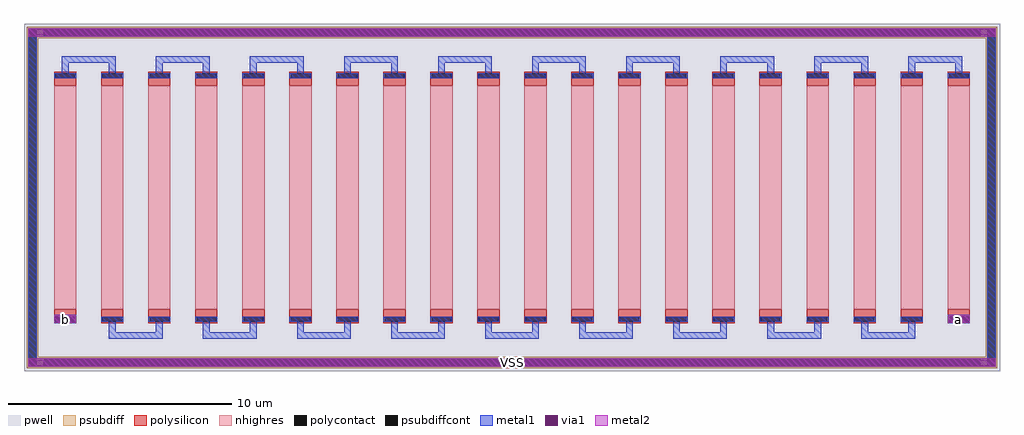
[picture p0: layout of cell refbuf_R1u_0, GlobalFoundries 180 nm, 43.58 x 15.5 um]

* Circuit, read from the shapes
.subckt refbuf_R1u_0 b a VSS
XR1 n1 b VSS ppolyf_u_1k r_width=1u r_length=10u
XR2 n1 n2 VSS ppolyf_u_1k r_width=1u r_length=10u
XR3 n3 n2 VSS ppolyf_u_1k r_width=1u r_length=10u
XR4 n3 n4 VSS ppolyf_u_1k r_width=1u r_length=10u
XR5 n5 n4 VSS ppolyf_u_1k r_width=1u r_length=10u
XR6 n5 n6 VSS ppolyf_u_1k r_width=1u r_length=10u
XR7 n7 n6 VSS ppolyf_u_1k r_width=1u r_length=10u
XR8 n7 n8 VSS ppolyf_u_1k r_width=1u r_length=10u
XR9 n9 n8 VSS ppolyf_u_1k r_width=1u r_length=10u
XR10 n9 n10 VSS ppolyf_u_1k r_width=1u r_length=10u
XR11 n11 n10 VSS ppolyf_u_1k r_width=1u r_length=10u
XR12 n11 n12 VSS ppolyf_u_1k r_width=1u r_length=10u
XR13 n13 n12 VSS ppolyf_u_1k r_width=1u r_length=10u
XR14 n13 n14 VSS ppolyf_u_1k r_width=1u r_length=10u
XR15 n15 n14 VSS ppolyf_u_1k r_width=1u r_length=10u
XR16 n15 n16 VSS ppolyf_u_1k r_width=1u r_length=10u
XR17 n17 n16 VSS ppolyf_u_1k r_width=1u r_length=10u
XR18 n17 n18 VSS ppolyf_u_1k r_width=1u r_length=10u
XR19 n19 n18 VSS ppolyf_u_1k r_width=1u r_length=10u
XR20 n19 a VSS ppolyf_u_1k r_width=1u r_length=10u
.ends

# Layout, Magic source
magic
tech gf180mcuD
magscale 1 10
<< pwell >>
rect -368 -464 8348 2636
<< psubdiff >>
rect -344 -440 8324 -336
rect -344 2508 8324 2612
rect -344 -336 -240 2508
rect 8220 -336 8324 2508
<< polysilicon >>
rect -100 2086 100 2208
rect -100 -36 100 86
rect 320 2086 520 2208
rect 320 -36 520 86
rect 740 2086 940 2208
rect 740 -36 940 86
rect 1160 2086 1360 2208
rect 1160 -36 1360 86
rect 1580 2086 1780 2208
rect 1580 -36 1780 86
rect 2000 2086 2200 2208
rect 2000 -36 2200 86
rect 2420 2086 2620 2208
rect 2420 -36 2620 86
rect 2840 2086 3040 2208
rect 2840 -36 3040 86
rect 3260 2086 3460 2208
rect 3260 -36 3460 86
rect 3680 2086 3880 2208
rect 3680 -36 3880 86
rect 4100 2086 4300 2208
rect 4100 -36 4300 86
rect 4520 2086 4720 2208
rect 4520 -36 4720 86
rect 4940 2086 5140 2208
rect 4940 -36 5140 86
rect 5360 2086 5560 2208
rect 5360 -36 5560 86
rect 5780 2086 5980 2208
rect 5780 -36 5980 86
rect 6200 2086 6400 2208
rect 6200 -36 6400 86
rect 6620 2086 6820 2208
rect 6620 -36 6820 86
rect 7040 2086 7240 2208
rect 7040 -36 7240 86
rect 7460 2086 7660 2208
rect 7460 -36 7660 86
rect 7880 2086 8080 2208
rect 7880 -36 8080 86
<< nhighres >>
rect -100 86 100 2086
rect 320 86 520 2086
rect 740 86 940 2086
rect 1160 86 1360 2086
rect 1580 86 1780 2086
rect 2000 86 2200 2086
rect 2420 86 2620 2086
rect 2840 86 3040 2086
rect 3260 86 3460 2086
rect 3680 86 3880 2086
rect 4100 86 4300 2086
rect 4520 86 4720 2086
rect 4940 86 5140 2086
rect 5360 86 5560 2086
rect 5780 86 5980 2086
rect 6200 86 6400 2086
rect 6620 86 6820 2086
rect 7040 86 7240 2086
rect 7460 86 7660 2086
rect 7880 86 8080 2086
<< psubdiffcont >>
rect -331 -416 -253 2588
rect 8233 -416 8311 2588
rect -193 2521 8173 2599
rect -193 -427 8173 -349
<< polycontact >>
rect -87 2149 87 2195
rect -87 -23 87 23
rect 333 2149 507 2195
rect 333 -23 507 23
rect 753 2149 927 2195
rect 753 -23 927 23
rect 1173 2149 1347 2195
rect 1173 -23 1347 23
rect 1593 2149 1767 2195
rect 1593 -23 1767 23
rect 2013 2149 2187 2195
rect 2013 -23 2187 23
rect 2433 2149 2607 2195
rect 2433 -23 2607 23
rect 2853 2149 3027 2195
rect 2853 -23 3027 23
rect 3273 2149 3447 2195
rect 3273 -23 3447 23
rect 3693 2149 3867 2195
rect 3693 -23 3867 23
rect 4113 2149 4287 2195
rect 4113 -23 4287 23
rect 4533 2149 4707 2195
rect 4533 -23 4707 23
rect 4953 2149 5127 2195
rect 4953 -23 5127 23
rect 5373 2149 5547 2195
rect 5373 -23 5547 23
rect 5793 2149 5967 2195
rect 5793 -23 5967 23
rect 6213 2149 6387 2195
rect 6213 -23 6387 23
rect 6633 2149 6807 2195
rect 6633 -23 6807 23
rect 7053 2149 7227 2195
rect 7053 -23 7227 23
rect 7473 2149 7647 2195
rect 7473 -23 7647 23
rect 7893 2149 8067 2195
rect 7893 -23 8067 23
<< metal1 >>
rect -98 2149 98 2195
rect -98 -23 98 23
rect 322 2149 518 2195
rect 322 -23 518 23
rect 742 2149 938 2195
rect 742 -23 938 23
rect 1162 2149 1358 2195
rect 1162 -23 1358 23
rect 1582 2149 1778 2195
rect 1582 -23 1778 23
rect 2002 2149 2198 2195
rect 2002 -23 2198 23
rect 2422 2149 2618 2195
rect 2422 -23 2618 23
rect 2842 2149 3038 2195
rect 2842 -23 3038 23
rect 3262 2149 3458 2195
rect 3262 -23 3458 23
rect 3682 2149 3878 2195
rect 3682 -23 3878 23
rect 4102 2149 4298 2195
rect 4102 -23 4298 23
rect 4522 2149 4718 2195
rect 4522 -23 4718 23
rect 4942 2149 5138 2195
rect 4942 -23 5138 23
rect 5362 2149 5558 2195
rect 5362 -23 5558 23
rect 5782 2149 5978 2195
rect 5782 -23 5978 23
rect 6202 2149 6398 2195
rect 6202 -23 6398 23
rect 6622 2149 6818 2195
rect 6622 -23 6818 23
rect 7042 2149 7238 2195
rect 7042 -23 7238 23
rect 7462 2149 7658 2195
rect 7462 -23 7658 23
rect 7882 2149 8078 2195
rect 7882 -23 8078 23
rect -98 -38 98 38
rect -30 2149 30 2348
rect 390 2149 450 2348
rect -30 2288 450 2348
rect 390 -176 450 23
rect 810 -176 870 23
rect 390 -176 870 -116
rect 810 2149 870 2348
rect 1230 2149 1290 2348
rect 810 2288 1290 2348
rect 1230 -176 1290 23
rect 1650 -176 1710 23
rect 1230 -176 1710 -116
rect 1650 2149 1710 2348
rect 2070 2149 2130 2348
rect 1650 2288 2130 2348
rect 2070 -176 2130 23
rect 2490 -176 2550 23
rect 2070 -176 2550 -116
rect 2490 2149 2550 2348
rect 2910 2149 2970 2348
rect 2490 2288 2970 2348
rect 2910 -176 2970 23
rect 3330 -176 3390 23
rect 2910 -176 3390 -116
rect 3330 2149 3390 2348
rect 3750 2149 3810 2348
rect 3330 2288 3810 2348
rect 3750 -176 3810 23
rect 4170 -176 4230 23
rect 3750 -176 4230 -116
rect 4170 2149 4230 2348
rect 4590 2149 4650 2348
rect 4170 2288 4650 2348
rect 4590 -176 4650 23
rect 5010 -176 5070 23
rect 4590 -176 5070 -116
rect 5010 2149 5070 2348
rect 5430 2149 5490 2348
rect 5010 2288 5490 2348
rect 5430 -176 5490 23
rect 5850 -176 5910 23
rect 5430 -176 5910 -116
rect 5850 2149 5910 2348
rect 6270 2149 6330 2348
rect 5850 2288 6330 2348
rect 6270 -176 6330 23
rect 6690 -176 6750 23
rect 6270 -176 6750 -116
rect 6690 2149 6750 2348
rect 7110 2149 7170 2348
rect 6690 2288 7170 2348
rect 7110 -176 7170 23
rect 7530 -176 7590 23
rect 7110 -176 7590 -116
rect 7530 2149 7590 2348
rect 7950 2149 8010 2348
rect 7530 2288 8010 2348
rect 7882 -38 8078 38
rect -331 -427 8311 -349
rect -331 2521 8311 2599
rect -331 -427 -253 2599
rect 8233 -427 8311 2599
rect -331 -427 8311 -349
rect -331 2521 8311 2599
<< metal2 >>
rect -98 -38 98 38
rect 7882 -38 8078 38
rect -331 -427 8311 -349
rect -331 2521 8311 2599
<< via1 >>
rect -86 -26 86 26
rect 7894 -26 8066 26
rect -319 -415 8299 -361
rect -319 2533 8299 2587
<< labels >>
flabel metal2 s -98 -38 98 38 0 FreeSans 80 0 0 0 b
port 1 nsew signal bidirectional
flabel metal2 s 7882 -38 8078 38 0 FreeSans 80 0 0 0 a
port 2 nsew signal bidirectional
flabel metal2 s -331 -427 8311 -349 0 FreeSans 80 0 0 0 VSS
port 3 nsew signal bidirectional
<< end >>
